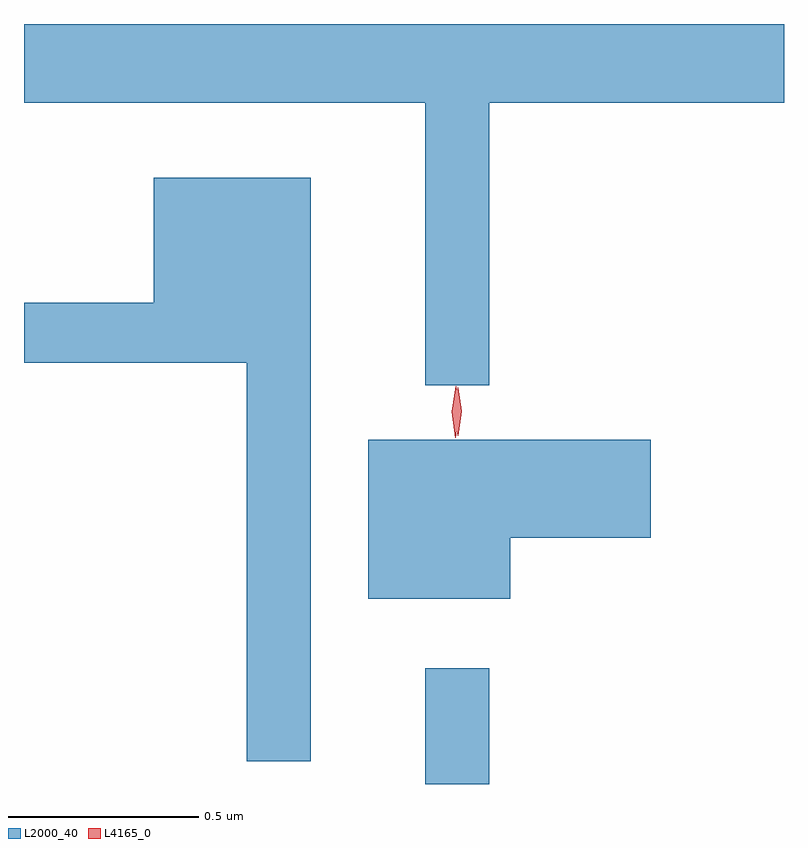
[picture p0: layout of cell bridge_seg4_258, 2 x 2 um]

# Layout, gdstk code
import gdstk
lib = gdstk.Library(unit=1e-6, precision=1e-09)
def R(c, l, rs):  # rectangles x0, y0, x1, y1
    for r in rs: c.add(gdstk.rectangle(r[:2], r[2:], *l))
def P(c, l, *ps):  # polygons
    for p in ps: c.add(gdstk.Polygon(p, *l))
L2000_40 = (2000, 40)
L4165_0 = (4165, 0)

bridge_seg4_258 = lib.new_cell('bridge_seg4_258')
R(bridge_seg4_258, L2000_40, [(665.931,1344.003,666.099,1344.308)])
P(bridge_seg4_258, L2000_40, [(666.099,1345.796),(666.875,1345.796),(666.875,1346.003),(664.875,1346.003),(664.875,1345.796),(665.931,1345.796),(665.931,1345.053),(666.099,1345.053)],
  [(665.629,1345.599),(665.216,1345.599),(665.216,1345.269),(664.875,1345.269),(664.875,1345.111),(665.461,1345.111),(665.461,1344.063),(665.629,1344.063)],
  [(666.154,1344.651),(666.524,1344.651),(666.524,1344.909),(665.781,1344.909),(665.781,1344.491),(666.154,1344.491)])
P(bridge_seg4_258, L4165_0, [(666.01,1344.914),(666.01,1344.914),(666.001,1344.982),(666.011,1345.05),(666.012,1345.05),(666.012,1345.05),(666.021,1344.982),(666.011,1344.914)],
  [(666.017,1344.92),(666.017,1344.92),(666.007,1344.984),(666.017,1345.046),(666.017,1345.047),(666.018,1345.046),(666.027,1344.984),(666.018,1344.92)])

lib.write_gds('bridge_seg4_258.gds')
